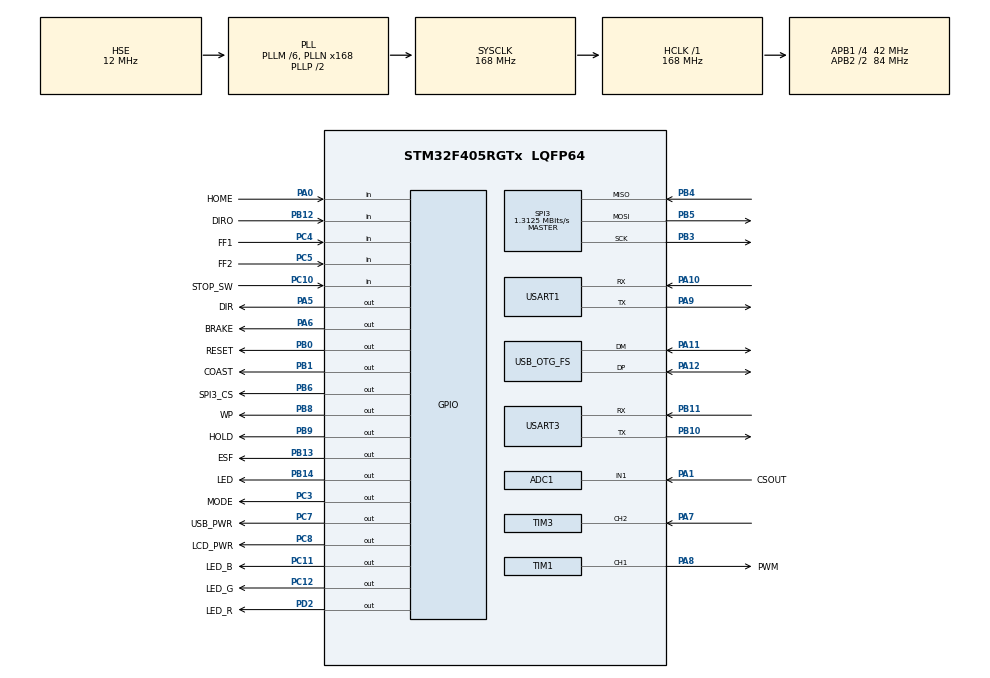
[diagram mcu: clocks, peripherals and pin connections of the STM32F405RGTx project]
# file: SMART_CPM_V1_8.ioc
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ADC1.Channel-0\#ChannelRegularConversion=ADC_CHANNEL_1
ADC1.ClockPrescaler=ADC_CLOCK_SYNC_PCLK_DIV4
ADC1.ContinuousConvMode=ENABLE
ADC1.DMAContinuousRequests=ENABLE
ADC1.DataAlign=ADC_DATAALIGN_RIGHT
ADC1.DiscontinuousConvMode=DISABLE
ADC1.EOCSelection=ADC_EOC_SINGLE_CONV
ADC1.EnableAnalogWatchDog=false
ADC1.ExternalTrigConv=ADC_SOFTWARE_START
ADC1.ExternalTrigConvEdge=ADC_EXTERNALTRIGCONVEDGE_NONE
ADC1.InjNumberOfConversion=0
ADC1.NbrOfConversion=1
ADC1.NbrOfConversionFlag=1
ADC1.Rank-0\#ChannelRegularConversion=1
ADC1.Resolution=ADC_RESOLUTION_12B
ADC1.SamplingTime-0\#ChannelRegularConversion=ADC_SAMPLETIME_3CYCLES
ADC1.ScanConvMode=DISABLE
ADC1.master=1
Dma.ADC1.1.Direction=DMA_PERIPH_TO_MEMORY
Dma.ADC1.1.FIFOMode=DMA_FIFOMODE_DISABLE
Dma.ADC1.1.Instance=DMA2_Stream0
Dma.ADC1.1.MemDataAlignment=DMA_MDATAALIGN_HALFWORD
Dma.ADC1.1.MemInc=DMA_MINC_ENABLE
Dma.ADC1.1.Mode=DMA_NORMAL
Dma.ADC1.1.PeriphDataAlignment=DMA_PDATAALIGN_HALFWORD
Dma.ADC1.1.PeriphInc=DMA_PINC_DISABLE
Dma.ADC1.1.Priority=DMA_PRIORITY_LOW
Dma.Request0=USART1_RX
Dma.Request1=ADC1
Dma.USART1_RX.0.Direction=DMA_PERIPH_TO_MEMORY
Dma.USART1_RX.0.FIFOMode=DMA_FIFOMODE_DISABLE
Dma.USART1_RX.0.Instance=DMA2_Stream2
Dma.USART1_RX.0.MemDataAlignment=DMA_MDATAALIGN_BYTE
Dma.USART1_RX.0.MemInc=DMA_MINC_ENABLE
Dma.USART1_RX.0.Mode=DMA_CIRCULAR
Dma.USART1_RX.0.PeriphDataAlignment=DMA_PDATAALIGN_BYTE
Dma.USART1_RX.0.PeriphInc=DMA_PINC_DISABLE
Dma.USART1_RX.0.Priority=DMA_PRIORITY_LOW
FATFS._MAX_SS=4096
FATFS._USE_FIND=1
FATFS._VOLUMES=2
Mcu.Family=STM32F4
Mcu.Name=STM32F405RGTx
Mcu.Package=LQFP64
NVIC.DMA2_Stream0_IRQn=true\:0\:0\:false\:false\:true\:true\:true
NVIC.DMA2_Stream2_IRQn=true\:0\:0\:false\:false\:true\:false\:true
NVIC.OTG_FS_IRQn=true\:0\:0\:false\:false\:true\:true\:true
NVIC.PriorityGroup=NVIC_PRIORITYGROUP_4
NVIC.TIM3_IRQn=true\:2\:0\:true\:false\:true\:true\:true
NVIC.TIM7_IRQn=true\:3\:0\:true\:false\:true\:true\:true
NVIC.USART1_IRQn=true\:0\:0\:false\:false\:true\:true\:true
NVIC.USART3_IRQn=true\:0\:0\:false\:false\:true\:true\:true
PA0-WKUP.GPIO_Label=HOME
PA0-WKUP.Signal=GPIO_Input
PA1.GPIO_Label=CSOUT
PA1.Signal=ADCx_IN1
PA10.Mode=Asynchronous
PA10.Signal=USART1_RX
PA11.Mode=Host_Only
PA11.Signal=USB_OTG_FS_DM
PA12.Mode=Host_Only
PA12.Signal=USB_OTG_FS_DP
PA5.GPIO_Label=DIR
PA5.GPIO_ModeDefaultOutputPP=GPIO_MODE_OUTPUT_OD
PA5.PinState=GPIO_PIN_SET
PA5.Signal=GPIO_Output
PA6.GPIO_Label=BRAKE
PA6.GPIO_ModeDefaultOutputPP=GPIO_MODE_OUTPUT_OD
PA6.PinState=GPIO_PIN_SET
PA6.Signal=GPIO_Output
PA7.Signal=S_TIM3_CH2
PA8.GPIO_Label=PWM
PA8.GPIO_Speed=GPIO_SPEED_FREQ_VERY_HIGH
PA8.Signal=S_TIM1_CH1
PA9.Mode=Asynchronous
PA9.Signal=USART1_TX
PB0.GPIO_Label=RESET
PB0.GPIO_ModeDefaultOutputPP=GPIO_MODE_OUTPUT_OD
PB0.PinState=GPIO_PIN_SET
PB0.Signal=GPIO_Output
PB1.GPIO_Label=COAST
PB1.GPIO_ModeDefaultOutputPP=GPIO_MODE_OUTPUT_OD
PB1.PinState=GPIO_PIN_SET
PB1.Signal=GPIO_Output
PB10.Mode=Asynchronous
PB10.Signal=USART3_TX
PB11.Mode=Asynchronous
PB11.Signal=USART3_RX
PB12.GPIO_Label=DIRO
PB12.Signal=GPIO_Input
PB13.GPIO_Label=ESF
PB13.GPIO_ModeDefaultOutputPP=GPIO_MODE_OUTPUT_OD
PB13.PinState=GPIO_PIN_SET
PB13.Signal=GPIO_Output
PB14.GPIO_Label=LED
PB14.GPIO_PuPd=GPIO_PULLUP
PB14.PinState=GPIO_PIN_SET
PB14.Signal=GPIO_Output
PB3.Mode=Full_Duplex_Master
PB3.Signal=SPI3_SCK
PB4.Mode=Full_Duplex_Master
PB4.Signal=SPI3_MISO
PB5.Mode=Full_Duplex_Master
PB5.Signal=SPI3_MOSI
PB6.GPIO_Label=SPI3_CS
PB6.Signal=GPIO_Output
PB8.GPIO_Label=WP
PB8.Signal=GPIO_Output
PB9.GPIO_Label=HOLD
PB9.Signal=GPIO_Output
PC10.GPIO_Label=STOP_SW
PC10.Signal=GPIO_Input
PC11.GPIO_Label=LED_B
PC11.GPIO_PuPd=GPIO_PULLUP
PC11.Signal=GPIO_Output
PC12.GPIO_Label=LED_G
PC12.GPIO_PuPd=GPIO_PULLUP
PC12.Signal=GPIO_Output
PC3.GPIO_Label=MODE
PC3.GPIO_ModeDefaultOutputPP=GPIO_MODE_OUTPUT_OD
PC3.PinState=GPIO_PIN_SET
PC3.Signal=GPIO_Output
PC4.GPIO_Label=FF1
PC4.Signal=GPIO_Input
PC5.GPIO_Label=FF2
PC5.Signal=GPIO_Input
PC7.GPIO_Label=USB_PWR
PC7.Signal=GPIO_Output
PC8.GPIO_Label=LCD_PWR
PC8.GPIO_ModeDefaultOutputPP=GPIO_MODE_OUTPUT_OD
PC8.PinState=GPIO_PIN_SET
PC8.Signal=GPIO_Output
PD2.GPIO_Label=LED_R
PD2.GPIO_PuPd=GPIO_PULLUP
PD2.Signal=GPIO_Output
PH0-OSC_IN.Mode=HSE-External-Oscillator
PH0-OSC_IN.Signal=RCC_OSC_IN
PH1-OSC_OUT.Mode=HSE-External-Oscillator
PH1-OSC_OUT.Signal=RCC_OSC_OUT
ProjectManager.HeapSize=0x400
ProjectManager.StackSize=0x800
ProjectManager.TargetToolchain=EWARM V7
RCC.48MHZClocksFreq_Value=48000000
RCC.AHBFreq_Value=168000000
RCC.APB1CLKDivider=RCC_HCLK_DIV4
RCC.APB1Freq_Value=42000000
RCC.APB1TimFreq_Value=84000000
RCC.APB2CLKDivider=RCC_HCLK_DIV2
RCC.APB2Freq_Value=84000000
RCC.APB2TimFreq_Value=168000000
RCC.CortexFreq_Value=168000000
RCC.HCLKFreq_Value=168000000
RCC.HSE_VALUE=12000000
RCC.HSI_VALUE=16000000
RCC.LSEState=RCC_LSE_ON
RCC.LSE_VALUE=32768
RCC.PLLM=6
RCC.PLLN=168
RCC.PLLQ=7
RCC.SYSCLKFreq_VALUE=168000000
RCC.SYSCLKSource=RCC_SYSCLKSOURCE_PLLCLK
RCC.VCOOutputFreq_Value=336000000
SH.ADCx_IN1.0=ADC1_IN1,IN1
SH.S_TIM1_CH1.0=TIM1_CH1,PWM Generation1 CH1
SH.S_TIM3_CH2.0=TIM3_CH2,TriggerSource_TI2FP2
SPI3.BaudRatePrescaler=SPI_BAUDRATEPRESCALER_32
SPI3.CalculateBaudRate=1.3125 MBits/s
SPI3.Direction=SPI_DIRECTION_2LINES
SPI3.Mode=SPI_MODE_MASTER
SPI3.VirtualType=VM_MASTER
TIM1.Channel-PWM\ Generation1\ CH1=TIM_CHANNEL_1
TIM1.Period=20000
TIM3.Period=10000
TIM3.Prescaler=0
TIM3.Slave_TriggerFilter=0
TIM3.Slave_TriggerPolarity=TIM_TRIGGERPOLARITY_BOTHEDGE
TIM7.Period=99
TIM7.Prescaler=83
USART1.VirtualMode=VM_ASYNC
USART3.VirtualMode=VM_ASYNC
USB_HOST.BSP.number=1
USB_HOST.USBH_HandleTypeDef-MSC_FS=hUsbHostFS
USB_HOST.VirtualModeFS=Msc
USB_HOST0.BSP.STBoard=false
USB_HOST0.BSP.api=Unknown
USB_HOST0.BSP.i2caddr=0
USB_HOST0.BSP.instance=PC7
USB_HOST0.BSP.ip=GPIO
USB_HOST0.BSP.mode=Output
USB_HOST0.BSP.name=Drive_VBUS_FS
USB_HOST0.BSP.solution=PC7
USB_OTG_FS.VirtualMode=Host_Only
USB_OTG_FS.phy_itface=HCD_PHY_EMBEDDED
VP_FATFS_VS_Generic.Mode=User_defined
VP_FATFS_VS_USB.Mode=USB
VP_TIM3_VS_ControllerModeClock.Mode=Clock Mode
VP_TIM7_VS_ClockSourceINT.Mode=Enable_Timer
VP_USB_HOST_VS_USB_HOST_MSC_FS.Mode=MSC_FS
board=SMART_CPM_V1_8

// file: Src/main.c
/* USER CODE BEGIN Header */
/**
  ******************************************************************************
  * @file           : main.c
  * @brief          : Main program body
  ******************************************************************************
  * @attention
  *
  * <h2><center>&copy; Copyright (c) 2019 STMicroelectronics.
  * All rights reserved.</center></h2>
  *
  * This software component is licensed by ST under Ultimate Liberty license
  * SLA0044, the "License"; You may not use this file except in compliance with
  * the License. You may obtain a copy of the License at:
  *                             www.st.com/SLA0044
  *
  ******************************************************************************
  */
/* USER CODE END Header */
#include "main.h"
#include "fatfs.h"
#include "usb_host.h"

/* USER CODE BEGIN Includes */
#include "Motor_Control.h"
#include "hx_UI.h"
#include "hx_Message.h"
#include "hx_Resource.h"
#include "hx_API.h"
#include "hx_APP.h"
#include "hx_LED.h"
#include "hx_USBDisk.h"
#include "hx_TouchLCD.h"
#include "hx_Key.h"
#include "hx_MotorDriver.h"
#include "hx_mcuFlash.h"
#include "hx_Error.h" //pjg++190906
#include "stm32f4xx_hal_flash_ex.h"

/* USER CODE END Includes */

/* USER CODE BEGIN PD */
#define PRINTF_BUF  100

/* USER CODE END PD */

ADC_HandleTypeDef hadc1;
DMA_HandleTypeDef hdma_adc1;

SPI_HandleTypeDef hspi3;

TIM_HandleTypeDef htim1;
TIM_HandleTypeDef htim3;
TIM_HandleTypeDef htim7;

UART_HandleTypeDef huart1;
UART_HandleTypeDef huart3;
DMA_HandleTypeDef hdma_usart1_rx;

/* USER CODE BEGIN PV */
/* Private variables ---------------------------------------------------------*/

/* USER CODE END PV */

void SystemClock_Config(void);
static void MX_GPIO_Init(void);
static void MX_DMA_Init(void);
static void MX_ADC1_Init(void);
static void MX_TIM1_Init(void);
static void MX_USART3_UART_Init(void);
static void MX_USART1_UART_Init(void);
static void MX_TIM7_Init(void);
static void MX_TIM3_Init(void);
static void MX_SPI3_Init(void);
void MX_USB_HOST_Process(void);

/* USER CODE BEGIN PFP */
/* Private function prototypes -----------------------------------------------*/
/*
uint8_t g_cUart1_Buff[10];
uint8_t g_cUart3_Buff[10];
uint8_t g_cUart1_RxFlag;
uint8_t g_cUart3_RxFlag;
*/
uint8_t   Uart_Rx_Buff[4];
//
//->use from smart
//#ifndef USE_MOTOR_CTRL_PJG
uint32_t  ADC_value[10], Pwm_Value = 450, Task_TIMER = 0;
uint32_t  Home_flag = 100, Home_TIMER = 0;
uint8_t   Home_sensor = 0, Run_mode = 0, Home_mode = 0, Timer_sec = 0, dir = 0;
uint16_t  MOTOR_STATE, Total_Counter = 0;
//#endif
//<-to smart
//
char CommonBuf[FLASH_PAGE_SIZE16*1];
uint32_t tickOld;

#ifdef USE_MOTOR_CTRL_PJG
int32_t     encoder, Target_Angle, Target_counter;
uint32_t  Motor_Current, Over_Current;
uint8_t FF1, FF2;
uint32_t ADC_rms;
#else
extern  int32_t     encoder, Target_Angle, Target_counter;
extern  uint32_t  Motor_Current, Over_Current;
extern  uint8_t ff1, ff2;
#endif
extern  ApplicationTypeDef Appli_state;
/* USER CODE END PFP */

/* USER CODE BEGIN 0 */

//--------------------------------------------------------------------------------------------------
void uart_putstring(char *pbuf)
{
	int i;
	char bufchk[PRINTF_BUF];

	//while (sTx.head != sTx.tail);

	for (i = 0; i < PRINTF_BUF; i++) {
		bufchk[i] = pbuf[i];
		if (pbuf[i] == 0) break;
//		uart_putchar(pbuf[i]);
	}
	printf("%s\r\n", bufchk);
}

void USBH_UserProcess (USBH_HandleTypeDef *phost, uint8_t id)
{
	switch (id)
	{
	case HOST_USER_DISCONNECTION:
		Appli_state = APPLICATION_DISCONNECT;
	break;
		/* when HOST_USER_CLASS_ACTIVE event is received, application can start
		communication with device*/
	case HOST_USER_CLASS_ACTIVE:
		Appli_state = APPLICATION_READY;
		break;
	case HOST_USER_CONNECTION:
		Appli_state = APPLICATION_START;
		break;
	default:
		break;
	}
}

void USB_Process(void)
{
	MX_USB_HOST_Process();
}

void USB_Init(void)
{
	API_SetTimer(OS_TIMER_ID_2, 200);
}

/*
void MotorDrv_Init(void)
{
	Motor_Init();
	HAL_ADC_Start_DMA(&hadc1,ADC_value,1);

	MOTOR_STATE = MOTOR_CCW;
	Motor_direction();
      Target_counter = 0;
	Pwm_Value =START_PWM;
	Motor_Current = 0;

	Run_mode = 0;
	Home_mode = 0;
	Task_TIMER = 0;
	MotorDrv_Init2();
}
*/

void DeviceDrv_Init(void)
{
	//UARTDrv_Init();
	//USART3_Init();
	TLCD_Driver_Init();
	KeyDrv_Init();
	LEDDrv_Init();
	USBDisk_Init();
	USB_Init();
#ifdef USE_FUN_REMOTE
	UI_Remote_Init();
#endif
	//uart_putchar('\r');
//	uart_putchar('\r');
//          printf("\r");
    uart_putstring("\r");
}

void USB_ClockDisable(void)
{
	RCC->PLLCFGR &= 0xf0ffffff; //PLLQ = 0
}

void USB_ClockEnable(void)
{
	RCC->PLLCFGR |= 0x07000000; //PLLQ = 0
}

void HAL_UART_RxCpltCallback(UART_HandleTypeDef * huart)
{
	if (huart->Instance == USART1) {	//lcd touch
		sTLcd_q.buf[sTLcd_q.head] = Uart_Rx_Buff[0];
		sTLcd_q.head++;
		if (sTLcd_q.head >= TLCD_BUF_SIZE) sTLcd_q.head = 0;
		//HAL_UART_Receive_IT(huart, (uint8_t *)&Uart_Rx_Buff[0], 1);
		HAL_UART_Receive_DMA(huart, (uint8_t *)&Uart_Rx_Buff[0], 1);
	}
	else if (huart->Instance == USART3) {	//pc comm
		HAL_UART_Receive_IT(huart, (uint8_t *)&Uart_Rx_Buff[2], 1);
		#ifdef USE_FUN_REMOTE
		UI_Remote_PutData(Uart_Rx_Buff[2]);
		#endif
	}
}

void uart_putchar3(char data)
{
	HAL_UART_Transmit(&huart3, (uint8_t *)&data, 1, 5);
}

void uart_putstring3(char *pbuf)
{
	int i;

	for (i = 0; i < PRINTF_BUF; i++) {
		if (pbuf[i] == 0) break;
		uart_putchar3(pbuf[i]);
	}
}

void SoundOutError(void) //pjg++190903
{
	int i;
	uint32_t temp;

	for (i = 0; i < 3; i++) {
		uart_putstring(UI_GetSndInfo(14));
        temp = HAL_GetTick();
		while (1) {
			if ((HAL_GetTick()-temp) >= (uint32_t)150) break;
		}
		//Task_TIMER = 1;
	}
}

//--------------------------------------------------------------------------------------------------
/* USER CODE END 0 */

int main(void)
{
  /* USER CODE BEGIN 1 */
    FLASH_OBProgramInitTypeDef flash;

    //NVIC_SetVectorTable(NVIC_VectTab_FLASH, 0x8000);        //<- �� �κ� �߰�
  /* USER CODE END 1 */

  /* MCU Configuration--------------------------------------------------------*/

  /* Reset of all peripherals, Initializes the Flash interface and the Systick. */
  HAL_Init();

  /* Configure the system clock */
  SystemClock_Config();

  /* Initialize all configured peripherals */
  MX_GPIO_Init();
  HAL_GPIO_WritePin(LCD_PWR_GPIO_Port, LCD_PWR_Pin, GPIO_PIN_RESET);                                // LCD PWR LOW
  MX_DMA_Init();
  MX_ADC1_Init();
  MX_TIM1_Init();
  MX_USART3_UART_Init();
  MX_USART1_UART_Init();
  MX_TIM7_Init();
  MX_TIM3_Init();
  MX_SPI3_Init();
  MX_USB_HOST_Init();
  MX_FATFS_Init();
  /* USER CODE BEGIN 2 */
#ifdef USE_MOTOR_CTRL_PJG
	HAL_TIM_Base_Start(&htim7);
	HAL_TIM_Base_Start_IT(&htim3);
#else
	HAL_TIM_Base_Start_IT(&htim7);
	HAL_TIM_Base_Start(&htim3);
#endif
	//#if 0//ndef USE_MOTOR_CTRL_PJG
	//HAL_TIM_PWM_Start(&htim1, TIM_CHANNEL_1);
	//HAL_TIMEx_PWMN_Start(&htim1, TIM_CHANNEL_1);
	//#endif

#ifndef USE_MOTOR_CTRL_PJG
	Pwm_Value = START_PWM;
#endif
	Motor_Current = 0;
  /* USER CODE END 2 */

  /* Infinite loop */
  /* USER CODE BEGIN WHILE */
/*
  FF1
  FF2
  Run_mode
  SpdTmWnd.speed
  Target_Angle
  ADC_rms
*/
//------------------------------------------------------------------ Motor TEST
 /*
 #if 0 //orid
  HAL_ADC_Start_DMA(&hadc1,ADC_value,1);
 #else
	Motor_Init();
	HAL_ADC_Start_DMA(&hadc1,ADC_value,1);

	MOTOR_STATE = MOTOR_CCW;
	Motor_direction();
#endif

//  Target_counter = 0;
  Pwm_Value = START_PWM;
  Motor_Current = 0;

  Task_TIMER = 0;

//  1 60
//  2 30
//  3 20
//  4 15
//  5 12

  while (1){

      if(Home_mode == 0){

          if(Task_TIMER < 12000){
              Target_Angle = 50;
          }
          else if(Task_TIMER >= 24000){
              Task_TIMER = 0;
          }
          else if(Task_TIMER >= 12000){
              Target_Angle = 0;
          }

      }
 //     else      Target_counter = 0;
      HAL_Delay(1);
  }
*/

//------------------------------------------------------------------ Motor TEST
//motor release
//HAL_GPIO_WritePin(COAST_GPIO_Port, COAST_Pin, GPIO_PIN_RESET);      // COAST LOW
/*
  Motor_Init();
  MOTOR_STATE = MOTOR_CCW;
  Motor_direction();
  Run_mode = 1;
  Home_mode = 1;

  while (1){
      if(!(HAL_GPIO_ReadPin(HOME_GPIO_Port,HOME_Pin))){                               // home check
        if(Home_TIMER++ >10){

                      Pwm_Value = START_PWM;
                      encoder = 0;
                      __HAL_TIM_SetCounter(&htim3,0);
                      Home_sensor = 1;
                      Home_mode = 0;
      //                MOTOR_STATE = MOTOR_CW;
      //                HAL_GPIO_WritePin(DIR_GPIO_Port, DIR_Pin, GPIO_PIN_RESET);                          // DIR LOW
                      Target_Angle = 0;
        }
      }
  }
  while (1){

  }
  */
//------------------------------------------------------------------- Motor TEST
  //Motor_Init();
  //HAL_ADC_Start_DMA(&hadc1,ADC_value,1);

  //MOTOR_STATE = MOTOR_CCW;
  //Motor_direction();
  //HAL_GPIO_WritePin(LCD_PWR_GPIO_Port, LCD_PWR_Pin, GPIO_PIN_RESET);                                // LCD PWR LOW
  OS_Init();
  Over_Current = 500;
  HAL_UART_Receive_DMA(&huart1, Uart_Rx_Buff, 1);
  /* USART1 interrupt Init */
  HAL_NVIC_SetPriority(USART3_IRQn, 2, 0);
  HAL_NVIC_EnableIRQ(USART3_IRQn);
  #ifdef USE_FUN_REMOTE
  HAL_UART_Receive_IT(&huart3, &Uart_Rx_Buff[2],1);
  #endif
  UI_LED_Control(LM_BEFORE_BOOT);
  tickOld = HAL_GetTick();
  HAL_FLASHEx_OBGetConfig(&flash);
  if(flash.RDPLevel != OB_RDP_LEVEL_1 ){
    flash.RDPLevel = OB_RDP_LEVEL_1;
    HAL_FLASHEx_OBProgram(&flash);
    //flash.RDPLevel = OB_RDP_LEVEL_0;
  }

 while (1)
  {
    /* USER CODE END WHILE */
    MX_USB_HOST_Process();

    /* USER CODE BEGIN 3 */
     //HAL_UART_Receive_IT(&huart1, &Uart_Rx_Buff[0], 1);
     /*
      if(!(HAL_GPIO_ReadPin(STOP_SW_GPIO_Port,STOP_SW_Pin))){

          if(Stop_TIMER >= 500 ){
              Run_mode = 0;
          }
      }
      else          Stop_TIMER = 0;*/
	OS_Process();

	//if(Task_TIMER >= 1){//10){                                                                         // 10ms
	if ((HAL_GetTick() - tickOld) > 10) {
		//Stop_TIMER++;
		//Task_TIMER = 0;
		tickOld = HAL_GetTick();
		UI_Timer_Process();
		App_Timer_Process();
		OS_Timer_Process();
		MotorDrv_Process();
		UI_CheckMotorStatus(); //pjg++190830 : if press machine when stanby the motor gear is broken
		if (API_CheckErrorCode()) {
			if (UI_DisplayErrorCode(API_GetErrorCode()) == EDT_DISP_HALT) {
				MotorDrv_Disable();
				MotorDrv_Release();
				SoundOutError();
				__disable_irq();
				//halt();
				while (1);
			}
			for (int i = 0; i < 2000; i++) {
				HAL_Delay(1);
			}
		}
	}
   }
  /* USER CODE END 3 */
}

void SystemClock_Config(void)
{
  RCC_OscInitTypeDef RCC_OscInitStruct = {0};
  RCC_ClkInitTypeDef RCC_ClkInitStruct = {0};

  /** Configure the main internal regulator output voltage
  */
  __HAL_RCC_PWR_CLK_ENABLE();
  __HAL_PWR_VOLTAGESCALING_CONFIG(PWR_REGULATOR_VOLTAGE_SCALE1);
  /** Initializes the RCC Oscillators according to the specified parameters
  * in the RCC_OscInitTypeDef structure.
  */
  RCC_OscInitStruct.OscillatorType = RCC_OSCILLATORTYPE_HSE;
  RCC_OscInitStruct.HSEState = RCC_HSE_ON;
  RCC_OscInitStruct.PLL.PLLState = RCC_PLL_ON;
  RCC_OscInitStruct.PLL.PLLSource = RCC_PLLSOURCE_HSE;
  RCC_OscInitStruct.PLL.PLLM = 6;
  RCC_OscInitStruct.PLL.PLLN = 168;
  RCC_OscInitStruct.PLL.PLLP = RCC_PLLP_DIV2;
  RCC_OscInitStruct.PLL.PLLQ = 7;
  if (HAL_RCC_OscConfig(&RCC_OscInitStruct) != HAL_OK)
  {
    Error_Handler();
  }
  /** Initializes the CPU, AHB and APB buses clocks
  */
  RCC_ClkInitStruct.ClockType = RCC_CLOCKTYPE_HCLK|RCC_CLOCKTYPE_SYSCLK
                              |RCC_CLOCKTYPE_PCLK1|RCC_CLOCKTYPE_PCLK2;
  RCC_ClkInitStruct.SYSCLKSource = RCC_SYSCLKSOURCE_PLLCLK;
  RCC_ClkInitStruct.AHBCLKDivider = RCC_SYSCLK_DIV1;
  RCC_ClkInitStruct.APB1CLKDivider = RCC_HCLK_DIV4;
  RCC_ClkInitStruct.APB2CLKDivider = RCC_HCLK_DIV2;

  if (HAL_RCC_ClockConfig(&RCC_ClkInitStruct, FLASH_LATENCY_5) != HAL_OK)
  {
    Error_Handler();
  }
}

static void MX_ADC1_Init(void)
{

  ADC_ChannelConfTypeDef sConfig = {0};

  /** Configure the global features of the ADC (Clock, Resolution, Data Alignment and number of conversion)
  */
  hadc1.Instance = ADC1;
  hadc1.Init.ClockPrescaler = ADC_CLOCK_SYNC_PCLK_DIV4;
  hadc1.Init.Resolution = ADC_RESOLUTION_12B;
  hadc1.Init.ScanConvMode = DISABLE;
  hadc1.Init.ContinuousConvMode = ENABLE;
  hadc1.Init.DiscontinuousConvMode = DISABLE;
  hadc1.Init.ExternalTrigConvEdge = ADC_EXTERNALTRIGCONVEDGE_NONE;
  hadc1.Init.ExternalTrigConv = ADC_SOFTWARE_START;
  hadc1.Init.DataAlign = ADC_DATAALIGN_RIGHT;
  hadc1.Init.NbrOfConversion = 1;
  hadc1.Init.DMAContinuousRequests = ENABLE;
  hadc1.Init.EOCSelection = ADC_EOC_SINGLE_CONV;
  if (HAL_ADC_Init(&hadc1) != HAL_OK)
  {
    Error_Handler();
  }
  /** Configure for the selected ADC regular channel its corresponding rank in the sequencer and its sample time.
  */
  sConfig.Channel = ADC_CHANNEL_1;
  sConfig.Rank = 1;
  sConfig.SamplingTime = ADC_SAMPLETIME_3CYCLES;
  if (HAL_ADC_ConfigChannel(&hadc1, &sConfig) != HAL_OK)
  {
    Error_Handler();
  }

}

static void MX_SPI3_Init(void)
{

  /* SPI3 parameter configuration*/
  hspi3.Instance = SPI3;
  hspi3.Init.Mode = SPI_MODE_MASTER;
  hspi3.Init.Direction = SPI_DIRECTION_2LINES;
  hspi3.Init.DataSize = SPI_DATASIZE_8BIT;
  hspi3.Init.CLKPolarity = SPI_POLARITY_LOW;
  hspi3.Init.CLKPhase = SPI_PHASE_1EDGE;
  hspi3.Init.NSS = SPI_NSS_SOFT;
  hspi3.Init.BaudRatePrescaler = SPI_BAUDRATEPRESCALER_32;
  hspi3.Init.FirstBit = SPI_FIRSTBIT_MSB;
  hspi3.Init.TIMode = SPI_TIMODE_DISABLE;
  hspi3.Init.CRCCalculation = SPI_CRCCALCULATION_DISABLE;
  hspi3.Init.CRCPolynomial = 10;
  if (HAL_SPI_Init(&hspi3) != HAL_OK)
  {
    Error_Handler();
  }

}

static void MX_TIM1_Init(void)
{

  TIM_MasterConfigTypeDef sMasterConfig = {0};
  TIM_OC_InitTypeDef sConfigOC = {0};
  TIM_BreakDeadTimeConfigTypeDef sBreakDeadTimeConfig = {0};

  htim1.Instance = TIM1;
  htim1.Init.Prescaler = 0;
  htim1.Init.CounterMode = TIM_COUNTERMODE_UP;
  htim1.Init.Period = 20000;
  htim1.Init.ClockDivision = TIM_CLOCKDIVISION_DIV1;
  htim1.Init.RepetitionCounter = 0;
  htim1.Init.AutoReloadPreload = TIM_AUTORELOAD_PRELOAD_DISABLE;
  if (HAL_TIM_PWM_Init(&htim1) != HAL_OK)
  {
    Error_Handler();
  }
  sMasterConfig.MasterOutputTrigger = TIM_TRGO_RESET;
  sMasterConfig.MasterSlaveMode = TIM_MASTERSLAVEMODE_DISABLE;
  if (HAL_TIMEx_MasterConfigSynchronization(&htim1, &sMasterConfig) != HAL_OK)
  {
    Error_Handler();
  }
  sConfigOC.OCMode = TIM_OCMODE_PWM1;
  sConfigOC.Pulse = 0;
  sConfigOC.OCPolarity = TIM_OCPOLARITY_HIGH;
  sConfigOC.OCNPolarity = TIM_OCNPOLARITY_HIGH;
  sConfigOC.OCFastMode = TIM_OCFAST_DISABLE;
  sConfigOC.OCIdleState = TIM_OCIDLESTATE_RESET;
  sConfigOC.OCNIdleState = TIM_OCNIDLESTATE_RESET;
  if (HAL_TIM_PWM_ConfigChannel(&htim1, &sConfigOC, TIM_CHANNEL_1) != HAL_OK)
  {
    Error_Handler();
  }
  sBreakDeadTimeConfig.OffStateRunMode = TIM_OSSR_DISABLE;
  sBreakDeadTimeConfig.OffStateIDLEMode = TIM_OSSI_DISABLE;
  sBreakDeadTimeConfig.LockLevel = TIM_LOCKLEVEL_OFF;
  sBreakDeadTimeConfig.DeadTime = 0;
  sBreakDeadTimeConfig.BreakState = TIM_BREAK_DISABLE;
  sBreakDeadTimeConfig.BreakPolarity = TIM_BREAKPOLARITY_HIGH;
  sBreakDeadTimeConfig.AutomaticOutput = TIM_AUTOMATICOUTPUT_DISABLE;
  if (HAL_TIMEx_ConfigBreakDeadTime(&htim1, &sBreakDeadTimeConfig) != HAL_OK)
  {
    Error_Handler();
  }
  HAL_TIM_MspPostInit(&htim1);

}

static void MX_TIM3_Init(void)
{

  TIM_SlaveConfigTypeDef sSlaveConfig = {0};
  TIM_MasterConfigTypeDef sMasterConfig = {0};

  htim3.Instance = TIM3;
  htim3.Init.Prescaler = 0;
  htim3.Init.CounterMode = TIM_COUNTERMODE_UP;
  htim3.Init.Period = 10000;
  htim3.Init.ClockDivision = TIM_CLOCKDIVISION_DIV1;
  htim3.Init.AutoReloadPreload = TIM_AUTORELOAD_PRELOAD_DISABLE;
  if (HAL_TIM_Base_Init(&htim3) != HAL_OK)
  {
    Error_Handler();
  }
  sSlaveConfig.SlaveMode = TIM_SLAVEMODE_EXTERNAL1;
  sSlaveConfig.InputTrigger = TIM_TS_TI2FP2;
  sSlaveConfig.TriggerPolarity = TIM_TRIGGERPOLARITY_BOTHEDGE;
  sSlaveConfig.TriggerFilter = 0;
  if (HAL_TIM_SlaveConfigSynchro(&htim3, &sSlaveConfig) != HAL_OK)
  {
    Error_Handler();
  }
  sMasterConfig.MasterOutputTrigger = TIM_TRGO_RESET;
  sMasterConfig.MasterSlaveMode = TIM_MASTERSLAVEMODE_DISABLE;
  if (HAL_TIMEx_MasterConfigSynchronization(&htim3, &sMasterConfig) != HAL_OK)
  {
    Error_Handler();
  }

}

static void MX_TIM7_Init(void)
{

  TIM_MasterConfigTypeDef sMasterConfig = {0};

  htim7.Instance = TIM7;
  htim7.Init.Prescaler = 83;
  htim7.Init.CounterMode = TIM_COUNTERMODE_UP;
  htim7.Init.Period = 99;
  htim7.Init.AutoReloadPreload = TIM_AUTORELOAD_PRELOAD_DISABLE;
  if (HAL_TIM_Base_Init(&htim7) != HAL_OK)
  {
    Error_Handler();
  }
  sMasterConfig.MasterOutputTrigger = TIM_TRGO_RESET;
  sMasterConfig.MasterSlaveMode = TIM_MASTERSLAVEMODE_DISABLE;
  if (HAL_TIMEx_MasterConfigSynchronization(&htim7, &sMasterConfig) != HAL_OK)
  {
    Error_Handler();
  }

}

static void MX_USART1_UART_Init(void)
{

  huart1.Instance = USART1;
  huart1.Init.BaudRate = 115200;
  huart1.Init.WordLength = UART_WORDLENGTH_8B;
  huart1.Init.StopBits = UART_STOPBITS_1;
  huart1.Init.Parity = UART_PARITY_NONE;
  huart1.Init.Mode = UART_MODE_TX_RX;
  huart1.Init.HwFlowCtl = UART_HWCONTROL_NONE;
  huart1.Init.OverSampling = UART_OVERSAMPLING_16;
  if (HAL_UART_Init(&huart1) != HAL_OK)
  {
    Error_Handler();
  }

}

static void MX_USART3_UART_Init(void)
{

  huart3.Instance = USART3;
  huart3.Init.BaudRate = 115200;
  huart3.Init.WordLength = UART_WORDLENGTH_8B;
  huart3.Init.StopBits = UART_STOPBITS_1;
  huart3.Init.Parity = UART_PARITY_NONE;
  huart3.Init.Mode = UART_MODE_TX_RX;
  huart3.Init.HwFlowCtl = UART_HWCONTROL_NONE;
  huart3.Init.OverSampling = UART_OVERSAMPLING_16;
  if (HAL_UART_Init(&huart3) != HAL_OK)
  {
    Error_Handler();
  }

}

static void MX_DMA_Init(void)
{

  /* DMA controller clock enable */
  __HAL_RCC_DMA2_CLK_ENABLE();

  /* DMA interrupt init */
  /* DMA2_Stream0_IRQn interrupt configuration */
  HAL_NVIC_SetPriority(DMA2_Stream0_IRQn, 0, 0);
  HAL_NVIC_EnableIRQ(DMA2_Stream0_IRQn);
  /* DMA2_Stream2_IRQn interrupt configuration */
  HAL_NVIC_SetPriority(DMA2_Stream2_IRQn, 0, 0);
  HAL_NVIC_EnableIRQ(DMA2_Stream2_IRQn);

}

static void MX_GPIO_Init(void)
{
  GPIO_InitTypeDef GPIO_InitStruct = {0};

  /* GPIO Ports Clock Enable */
  __HAL_RCC_GPIOH_CLK_ENABLE();
  __HAL_RCC_GPIOC_CLK_ENABLE();
  __HAL_RCC_GPIOA_CLK_ENABLE();
  __HAL_RCC_GPIOB_CLK_ENABLE();
  __HAL_RCC_GPIOD_CLK_ENABLE();

  /*Configure GPIO pin Output Level */
  HAL_GPIO_WritePin(GPIOC, MODE_Pin|LCD_PWR_Pin, GPIO_PIN_SET);

  /*Configure GPIO pin Output Level */
  HAL_GPIO_WritePin(GPIOA, DIR_Pin|BRAKE_Pin, GPIO_PIN_SET);

  /*Configure GPIO pin Output Level */
  HAL_GPIO_WritePin(GPIOB, RESET_Pin|COAST_Pin|ESF_Pin|LED_Pin, GPIO_PIN_SET);

  /*Configure GPIO pin Output Level */
  HAL_GPIO_WritePin(GPIOC, USB_PWR_Pin|LED_B_Pin|LED_G_Pin, GPIO_PIN_RESET);

  /*Configure GPIO pin Output Level */
  HAL_GPIO_WritePin(LED_R_GPIO_Port, LED_R_Pin, GPIO_PIN_RESET);

  /*Configure GPIO pin Output Level */
  HAL_GPIO_WritePin(GPIOB, SPI3_CS_Pin|WP_Pin|HOLD_Pin, GPIO_PIN_RESET);

  /*Configure GPIO pins : MODE_Pin LCD_PWR_Pin */
  GPIO_InitStruct.Pin = MODE_Pin|LCD_PWR_Pin;
  GPIO_InitStruct.Mode = GPIO_MODE_OUTPUT_OD;
  GPIO_InitStruct.Pull = GPIO_NOPULL;
  GPIO_InitStruct.Speed = GPIO_SPEED_FREQ_LOW;
  HAL_GPIO_Init(GPIOC, &GPIO_InitStruct);

  /*Configure GPIO pin : HOME_Pin */
  GPIO_InitStruct.Pin = HOME_Pin;
  GPIO_InitStruct.Mode = GPIO_MODE_INPUT;
  GPIO_InitStruct.Pull = GPIO_NOPULL;
  HAL_GPIO_Init(HOME_GPIO_Port, &GPIO_InitStruct);

  /*Configure GPIO pins : DIR_Pin BRAKE_Pin */
  GPIO_InitStruct.Pin = DIR_Pin|BRAKE_Pin;
  GPIO_InitStruct.Mode = GPIO_MODE_OUTPUT_OD;
  GPIO_InitStruct.Pull = GPIO_NOPULL;
  GPIO_InitStruct.Speed = GPIO_SPEED_FREQ_LOW;
  HAL_GPIO_Init(GPIOA, &GPIO_InitStruct);

  /*Configure GPIO pins : FF1_Pin FF2_Pin STOP_SW_Pin */
  GPIO_InitStruct.Pin = FF1_Pin|FF2_Pin|STOP_SW_Pin;
  GPIO_InitStruct.Mode = GPIO_MODE_INPUT;
  GPIO_InitStruct.Pull = GPIO_NOPULL;
  HAL_GPIO_Init(GPIOC, &GPIO_InitStruct);

  /*Configure GPIO pins : RESET_Pin COAST_Pin ESF_Pin */
  GPIO_InitStruct.Pin = RESET_Pin|COAST_Pin|ESF_Pin;
  GPIO_InitStruct.Mode = GPIO_MODE_OUTPUT_OD;
  GPIO_InitStruct.Pull = GPIO_NOPULL;
  GPIO_InitStruct.Speed = GPIO_SPEED_FREQ_LOW;
  HAL_GPIO_Init(GPIOB, &GPIO_InitStruct);

  /*Configure GPIO pin : DIRO_Pin */
  GPIO_InitStruct.Pin = DIRO_Pin;
  GPIO_InitStruct.Mode = GPIO_MODE_INPUT;
  GPIO_InitStruct.Pull = GPIO_NOPULL;
  HAL_GPIO_Init(DIRO_GPIO_Port, &GPIO_InitStruct);

  /*Configure GPIO pin : LED_Pin */
  GPIO_InitStruct.Pin = LED_Pin;
  GPIO_InitStruct.Mode = GPIO_MODE_OUTPUT_PP;
  GPIO_InitStruct.Pull = GPIO_PULLUP;
  GPIO_InitStruct.Speed = GPIO_SPEED_FREQ_LOW;
  HAL_GPIO_Init(LED_GPIO_Port, &GPIO_InitStruct);

  /*Configure GPIO pin : USB_PWR_Pin */
  GPIO_InitStruct.Pin = USB_PWR_Pin;
  GPIO_InitStruct.Mode = GPIO_MODE_OUTPUT_PP;
  GPIO_InitStruct.Pull = GPIO_NOPULL;
  GPIO_InitStruct.Speed = GPIO_SPEED_FREQ_LOW;
  HAL_GPIO_Init(USB_PWR_GPIO_Port, &GPIO_InitStruct);

  /*Configure GPIO pins : LED_B_Pin LED_G_Pin */
  GPIO_InitStruct.Pin = LED_B_Pin|LED_G_Pin;
  GPIO_InitStruct.Mode = GPIO_MODE_OUTPUT_PP;
  GPIO_InitStruct.Pull = GPIO_PULLUP;
  GPIO_InitStruct.Speed = GPIO_SPEED_FREQ_LOW;
  HAL_GPIO_Init(GPIOC, &GPIO_InitStruct);

  /*Configure GPIO pin : LED_R_Pin */
  GPIO_InitStruct.Pin = LED_R_Pin;
  GPIO_InitStruct.Mode = GPIO_MODE_OUTPUT_PP;
  GPIO_InitStruct.Pull = GPIO_PULLUP;
  GPIO_InitStruct.Speed = GPIO_SPEED_FREQ_LOW;
  HAL_GPIO_Init(LED_R_GPIO_Port, &GPIO_InitStruct);

  /*Configure GPIO pins : SPI3_CS_Pin WP_Pin HOLD_Pin */
  GPIO_InitStruct.Pin = SPI3_CS_Pin|WP_Pin|HOLD_Pin;
  GPIO_InitStruct.Mode = GPIO_MODE_OUTPUT_PP;
  GPIO_InitStruct.Pull = GPIO_NOPULL;
  GPIO_InitStruct.Speed = GPIO_SPEED_FREQ_LOW;
  HAL_GPIO_Init(GPIOB, &GPIO_InitStruct);

}

/* USER CODE BEGIN 4 */
//void MX_DriverVbusFS(uint8_t state)
//{
//}

/* USER CODE END 4 */

void Error_Handler(void)
{
  while(1)
  {
  }
}

/************************ (C) COPYRIGHT STMicroelectronics *****END OF FILE****/
